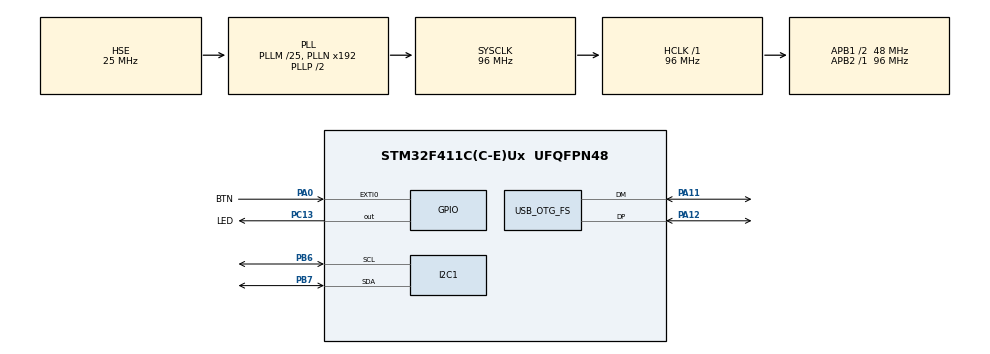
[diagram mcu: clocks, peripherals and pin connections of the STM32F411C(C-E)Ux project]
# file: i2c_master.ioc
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I2C1.I2C_Mode=I2C_Fast
Mcu.Family=STM32F4
Mcu.Name=STM32F411C(C-E)Ux
Mcu.Package=UFQFPN48
NVIC.EXTI0_IRQn=true\:0\:0\:false\:false\:true\:true\:true
NVIC.OTG_FS_IRQn=true\:0\:0\:false\:false\:true\:false\:true
NVIC.PriorityGroup=NVIC_PRIORITYGROUP_4
PA0-WKUP.GPIO_Label=BTN
PA0-WKUP.GPIO_ModeDefaultEXTI=GPIO_MODE_IT_RISING_FALLING
PA0-WKUP.GPIO_PuPd=GPIO_PULLUP
PA0-WKUP.Signal=GPXTI0
PA11.Mode=Device_Only
PA11.Signal=USB_OTG_FS_DM
PA12.Mode=Device_Only
PA12.Signal=USB_OTG_FS_DP
PA13.Mode=Serial_Wire
PA13.Signal=SYS_JTMS-SWDIO
PA14.Mode=Serial_Wire
PA14.Signal=SYS_JTCK-SWCLK
PB6.GPIO_Pu=GPIO_PULLUP
PB6.Mode=I2C
PB6.Signal=I2C1_SCL
PB7.GPIO_Pu=GPIO_PULLUP
PB7.Mode=I2C
PB7.Signal=I2C1_SDA
PC13-ANTI_TAMP.GPIO_Label=LED
PC13-ANTI_TAMP.GPIO_ModeDefaultOutputPP=GPIO_MODE_OUTPUT_OD
PC13-ANTI_TAMP.PinState=GPIO_PIN_SET
PC13-ANTI_TAMP.Signal=GPIO_Output
PH0\ -\ OSC_IN.Mode=HSE-External-Oscillator
PH0\ -\ OSC_IN.Signal=RCC_OSC_IN
PH1\ -\ OSC_OUT.Mode=HSE-External-Oscillator
PH1\ -\ OSC_OUT.Signal=RCC_OSC_OUT
ProjectManager.HeapSize=0x200
ProjectManager.StackSize=0x400
ProjectManager.TargetToolchain=STM32CubeIDE
RCC.48MHZClocksFreq_Value=48000000
RCC.AHBFreq_Value=96000000
RCC.APB1CLKDivider=RCC_HCLK_DIV2
RCC.APB1Freq_Value=48000000
RCC.APB1TimFreq_Value=96000000
RCC.APB2Freq_Value=96000000
RCC.APB2TimFreq_Value=96000000
RCC.CortexFreq_Value=96000000
RCC.HCLKFreq_Value=96000000
RCC.HSE_VALUE=25000000
RCC.HSI_VALUE=16000000
RCC.LSE_VALUE=32768
RCC.PLLM=25
RCC.SYSCLKFreq_VALUE=96000000
RCC.SYSCLKSource=RCC_SYSCLKSOURCE_PLLCLK
RCC.VCOOutputFreq_Value=192000000
USB_DEVICE.CLASS_NAME_FS=CDC
USB_DEVICE.MANUFACTURER_STRING=Lars Boegild Thomsen
USB_DEVICE.PRODUCT_STRING_CDC_FS=I2C Master ComPort
USB_DEVICE.VirtualMode=Cdc
USB_DEVICE.VirtualModeFS=Cdc_FS
USB_OTG_FS.VirtualMode=Device_Only
VP_USB_DEVICE_VS_USB_DEVICE_CDC_FS.Mode=CDC_FS
board=custom

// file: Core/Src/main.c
/* USER CODE BEGIN Header */
/**
  ******************************************************************************
  * @file           : main.c
  * @brief          : Main program body
  ******************************************************************************
  * @attention
  *
  * <h2><center>&copy; Copyright (c) 2021 STMicroelectronics.
  * All rights reserved.</center></h2>
  *
  * This software component is licensed by ST under BSD 3-Clause license,
  * the "License"; You may not use this file except in compliance with the
  * License. You may obtain a copy of the License at:
  *                        opensource.org/licenses/BSD-3-Clause
  *
  ******************************************************************************
  */
/* USER CODE END Header */
#include "main.h"
#include "usb_device.h"

/* USER CODE BEGIN Includes */
#include "usbd_cdc_if.h"
#include "stdio.h"
#include "stdbool.h"
/* USER CODE END Includes */

/* USER CODE BEGIN PD */
#define DFU_BOOT_FLAG 0xDEADBEEF

#define I2C_SLAVE_ADDR 0x20
/* USER CODE END PD */

I2C_HandleTypeDef hi2c1;

/* USER CODE BEGIN PV */
extern int _estack;
uint32_t *dfu_boot_flag;
uint32_t push_count = 0;
bool scan_trigger = false;

extern USBD_HandleTypeDef hUsbDeviceFS;
/* USER CODE END PV */

void SystemClock_Config(void);
static void MX_GPIO_Init(void);
static void MX_I2C1_Init(void);

/* USER CODE BEGIN 0 */

// Redirect printf to USB serial
int _write(int file, char *ptr, int len) {
    while (!(CDC_Transmit_FS((uint8_t*) ptr, len) == USBD_BUSY));
    HAL_Delay(1);
    return len;
}

void HAL_GPIO_EXTI_Callback(uint16_t GPIO_Pin) {
	if (GPIO_Pin == BTN_Pin) // If the button
	{
		GPIO_PinState pinState = HAL_GPIO_ReadPin(BTN_GPIO_Port, BTN_Pin);
		if (pinState == GPIO_PIN_RESET) {
			push_count = HAL_GetTick();
		} else {
			if (HAL_GetTick() - push_count > 1000) {
				// Set the boot flag and reset the mcu.  The bootloader
				// will detect the flag and stay in dfu mode.
				*dfu_boot_flag = DFU_BOOT_FLAG;
				HAL_NVIC_SystemReset();
			}

			scan_trigger = true;

			push_count = 0;
		}

	}
}

/* USER CODE END 0 */

int main(void)
{
  /* USER CODE BEGIN 1 */
  dfu_boot_flag = (uint32_t *)(&_estack - 100); // 100 bytes below top of stack
  /* USER CODE END 1 */

  /* MCU Configuration--------------------------------------------------------*/

  /* Reset of all peripherals, Initializes the Flash interface and the Systick. */
  HAL_Init();

  /* Configure the system clock */
  SystemClock_Config();

  /* Initialize all configured peripherals */
  MX_GPIO_Init();
  MX_USB_DEVICE_Init();
  MX_I2C1_Init();

  /* Infinite loop */
  /* USER CODE BEGIN WHILE */

  uint32_t now = 0, last_tick = 0, last_blink = 0, last_i2c_check = 0;

  while (1)
  {

	  now = HAL_GetTick();

	  if (now - last_blink >= 500) {

		  HAL_GPIO_TogglePin(LED_GPIO_Port, LED_Pin);

		  last_blink = now;
	  }

	  if (now - last_tick >= 1000) {

		  DBG("Master tick %lu", now / 1000);

		  last_tick = now;
	  }

	  if (now - last_i2c_check >= 10000) {

		  DBG("Checking i2c slave");

		  HAL_StatusTypeDef result = HAL_I2C_IsDeviceReady(&hi2c1, (uint16_t)(0x20 << 1), 1, 2);

		  if (result == HAL_OK) {
		  	DBG("Found slave - writing data");

		  	uint8_t buffer[3] = {
		  			0x00, 0xfe, 0xef
		  	};

		  	HAL_I2C_Master_Transmit(&hi2c1, (uint16_t)(0x20 << 1), buffer, 3, 10);
		  } else {
			  DBG("Slave not found - status %x", result);
		  }

		  last_i2c_check = now;
	  }

    /* USER CODE END WHILE */

  }
}

void SystemClock_Config(void)
{
  RCC_OscInitTypeDef RCC_OscInitStruct = {0};
  RCC_ClkInitTypeDef RCC_ClkInitStruct = {0};

  /** Configure the main internal regulator output voltage
  */
  __HAL_RCC_PWR_CLK_ENABLE();
  __HAL_PWR_VOLTAGESCALING_CONFIG(PWR_REGULATOR_VOLTAGE_SCALE1);
  /** Initializes the RCC Oscillators according to the specified parameters
  * in the RCC_OscInitTypeDef structure.
  */
  RCC_OscInitStruct.OscillatorType = RCC_OSCILLATORTYPE_HSE;
  RCC_OscInitStruct.HSEState = RCC_HSE_ON;
  RCC_OscInitStruct.PLL.PLLState = RCC_PLL_ON;
  RCC_OscInitStruct.PLL.PLLSource = RCC_PLLSOURCE_HSE;
  RCC_OscInitStruct.PLL.PLLM = 25;
  RCC_OscInitStruct.PLL.PLLN = 192;
  RCC_OscInitStruct.PLL.PLLP = RCC_PLLP_DIV2;
  RCC_OscInitStruct.PLL.PLLQ = 4;
  if (HAL_RCC_OscConfig(&RCC_OscInitStruct) != HAL_OK)
  {
    Error_Handler();
  }
  /** Initializes the CPU, AHB and APB buses clocks
  */
  RCC_ClkInitStruct.ClockType = RCC_CLOCKTYPE_HCLK|RCC_CLOCKTYPE_SYSCLK
                              |RCC_CLOCKTYPE_PCLK1|RCC_CLOCKTYPE_PCLK2;
  RCC_ClkInitStruct.SYSCLKSource = RCC_SYSCLKSOURCE_PLLCLK;
  RCC_ClkInitStruct.AHBCLKDivider = RCC_SYSCLK_DIV1;
  RCC_ClkInitStruct.APB1CLKDivider = RCC_HCLK_DIV2;
  RCC_ClkInitStruct.APB2CLKDivider = RCC_HCLK_DIV1;

  if (HAL_RCC_ClockConfig(&RCC_ClkInitStruct, FLASH_LATENCY_3) != HAL_OK)
  {
    Error_Handler();
  }
}

static void MX_I2C1_Init(void)
{

  hi2c1.Instance = I2C1;
  hi2c1.Init.ClockSpeed = 400000;
  hi2c1.Init.DutyCycle = I2C_DUTYCYCLE_2;
  hi2c1.Init.OwnAddress1 = 0;
  hi2c1.Init.AddressingMode = I2C_ADDRESSINGMODE_7BIT;
  hi2c1.Init.DualAddressMode = I2C_DUALADDRESS_DISABLE;
  hi2c1.Init.OwnAddress2 = 0;
  hi2c1.Init.GeneralCallMode = I2C_GENERALCALL_DISABLE;
  hi2c1.Init.NoStretchMode = I2C_NOSTRETCH_DISABLE;
  if (HAL_I2C_Init(&hi2c1) != HAL_OK)
  {
    Error_Handler();
  }

}

static void MX_GPIO_Init(void)
{
  GPIO_InitTypeDef GPIO_InitStruct = {0};

  /* GPIO Ports Clock Enable */
  __HAL_RCC_GPIOC_CLK_ENABLE();
  __HAL_RCC_GPIOH_CLK_ENABLE();
  __HAL_RCC_GPIOA_CLK_ENABLE();
  __HAL_RCC_GPIOB_CLK_ENABLE();

  /*Configure GPIO pin Output Level */
  HAL_GPIO_WritePin(LED_GPIO_Port, LED_Pin, GPIO_PIN_SET);

  /*Configure GPIO pin : LED_Pin */
  GPIO_InitStruct.Pin = LED_Pin;
  GPIO_InitStruct.Mode = GPIO_MODE_OUTPUT_OD;
  GPIO_InitStruct.Pull = GPIO_NOPULL;
  GPIO_InitStruct.Speed = GPIO_SPEED_FREQ_LOW;
  HAL_GPIO_Init(LED_GPIO_Port, &GPIO_InitStruct);

  /*Configure GPIO pin : BTN_Pin */
  GPIO_InitStruct.Pin = BTN_Pin;
  GPIO_InitStruct.Mode = GPIO_MODE_IT_RISING_FALLING;
  GPIO_InitStruct.Pull = GPIO_PULLUP;
  HAL_GPIO_Init(BTN_GPIO_Port, &GPIO_InitStruct);

  /* EXTI interrupt init*/
  HAL_NVIC_SetPriority(EXTI0_IRQn, 0, 0);
  HAL_NVIC_EnableIRQ(EXTI0_IRQn);

}

void Error_Handler(void)
{
  __disable_irq();
  while (1)
  {
  }
}

/************************ (C) COPYRIGHT STMicroelectronics *****END OF FILE****/
